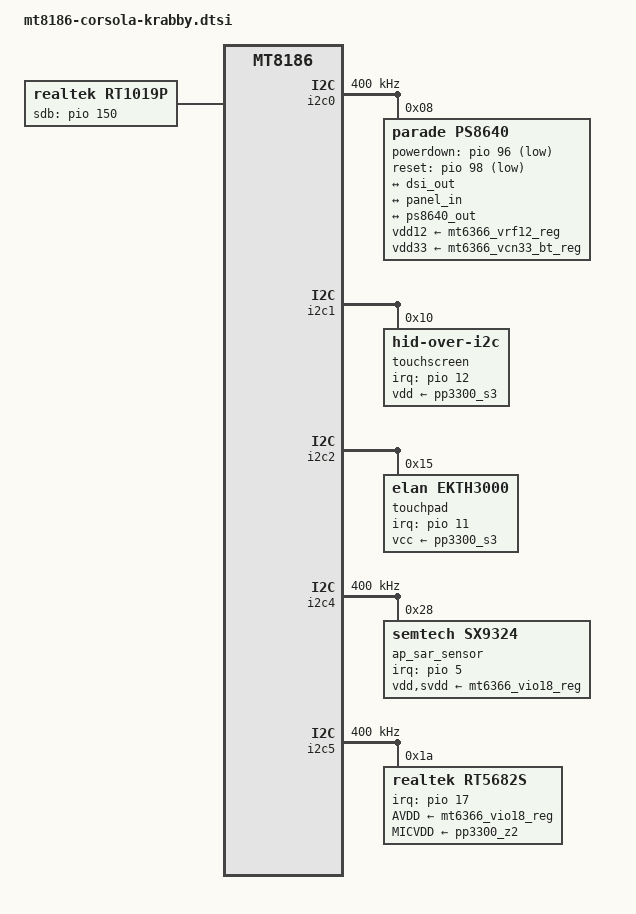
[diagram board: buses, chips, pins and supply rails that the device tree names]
// SPDX-License-Identifier: (GPL-2.0 OR MIT)
/*
 * Copyright 2022 Google LLC
 */

/dts-v1/;
#include "mt8186-corsola.dtsi"
#include "mt8186-corsola-it6505.dtsi"

/ {
	rt1019p: rt1019p {
		status = "okay";

		compatible = "realtek,rt1019p";
		pinctrl-names = "default";
		pinctrl-0 = <&rt1019p_pins_default>;
		sdb-gpios = <&pio 150 GPIO_ACTIVE_HIGH>;
		#sound-dai-cells = <0>;
	};
};

&dsi_out {
	remote-endpoint = <&ps8640_in>;
};

&i2c0 {
	clock-frequency = <400000>;

	ps8640: edp-bridge@8 {
		compatible = "parade,ps8640";
		reg = <0x8>;
		powerdown-gpios = <&pio 96 GPIO_ACTIVE_LOW>;
		reset-gpios = <&pio 98 GPIO_ACTIVE_LOW>;
		pinctrl-names = "default";
		pinctrl-0 = <&ps8640_pins>;
		vdd12-supply = <&mt6366_vrf12_reg>;
		vdd33-supply = <&mt6366_vcn33_bt_reg>;

		ports {
			#address-cells = <1>;
			#size-cells = <0>;

			port@0 {
				reg = <0>;

				ps8640_in: endpoint {
					remote-endpoint = <&dsi_out>;
				};
			};

			port@1 {
				reg = <1>;

				ps8640_out: endpoint {
					remote-endpoint = <&panel_in>;
				};
			};
		};

		aux-bus {
			panel {
				compatible = "auo,b116xw03";
				power-supply = <&pp3300_disp_x>;
				backlight = <&backlight_lcd0>;

				port {
					panel_in: endpoint {
						remote-endpoint = <&ps8640_out>;
					};
				};
			};
		};
	};
};

&i2c1 {
	i2c-scl-internal-delay-ns = <10000>;

	touchscreen: touchscreen@10 {
		compatible = "hid-over-i2c";
		reg = <0x10>;
		interrupt-parent = <&pio>;
		interrupts = <12 IRQ_TYPE_LEVEL_LOW>;
		pinctrl-names = "default";
		pinctrl-0 = <&touchscreen_pins>;
		post-power-on-delay-ms = <10>;
		hid-descr-addr = <0x0001>;
		vdd-supply = <&pp3300_s3>;
	};
};

&i2c2 {
	touchpad@15 {
		compatible = "elan,ekth3000";
		reg = <0x15>;
		pinctrl-names = "default";
		pinctrl-0 = <&trackpad_pins>;
		interrupt-parent = <&pio>;
		interrupts = <11 IRQ_TYPE_LEVEL_LOW>;
		vcc-supply = <&pp3300_s3>;
		wakeup-source;
	};
};

&i2c4 {
	clock-frequency = <400000>;

	ap_sar_sensor: proximity@28 {
		compatible = "semtech,sx9324";
		reg = <0x28>;
		#io-channel-cells = <1>;
		pinctrl-names = "default";
		pinctrl-0 = <&sar_sensor_pins>;
		interrupt-parent = <&pio>;
		interrupts = <5 IRQ_TYPE_LEVEL_LOW>;
		vdd-supply = <&mt6366_vio18_reg>;
		svdd-supply = <&mt6366_vio18_reg>;
	};
};

&i2c5 {
	clock-frequency = <400000>;

	rt5682s: rt5682s@1a {
		compatible = "realtek,rt5682s";
		reg = <0x1a>;
		interrupt-parent = <&pio>;
		interrupts = <17 IRQ_TYPE_EDGE_BOTH>;
		realtek,jd-src = <1>;
		AVDD-supply = <&mt6366_vio18_reg>;
		MICVDD-supply = <&pp3300_z2>;
		#sound-dai-cells = <0>;
	};
};

&mmc1_pins_default {
	pins-clk {
		drive-strength = <MTK_DRIVE_8mA>;
	};

	pins-cmd-dat {
		drive-strength = <MTK_DRIVE_8mA>;
	};
};

&mmc1_pins_uhs {
	pins-clk {
		drive-strength = <MTK_DRIVE_8mA>;
	};

	pins-cmd-dat {
		drive-strength = <MTK_DRIVE_8mA>;
	};
};

&pio {
	dpi_pin_default: dpi-pin-default {
		pins-cmd-dat {
			pinmux = <PINMUX_GPIO103__FUNC_GPIO103>,
				 <PINMUX_GPIO104__FUNC_GPIO104>,
				 <PINMUX_GPIO105__FUNC_GPIO105>,
				 <PINMUX_GPIO106__FUNC_GPIO106>,
				 <PINMUX_GPIO107__FUNC_GPIO107>,
				 <PINMUX_GPIO108__FUNC_GPIO108>,
				 <PINMUX_GPIO109__FUNC_GPIO109>,
				 <PINMUX_GPIO110__FUNC_GPIO110>,
				 <PINMUX_GPIO111__FUNC_GPIO111>,
				 <PINMUX_GPIO112__FUNC_GPIO112>,
				 <PINMUX_GPIO113__FUNC_GPIO113>,
				 <PINMUX_GPIO114__FUNC_GPIO114>,
				 <PINMUX_GPIO101__FUNC_GPIO101>,
				 <PINMUX_GPIO100__FUNC_GPIO100>,
				 <PINMUX_GPIO102__FUNC_GPIO102>,
				 <PINMUX_GPIO99__FUNC_GPIO99>;
			drive-strength = <MTK_DRIVE_10mA>;
			output-low;
		};
	};

	dpi_pin_func: dpi-pin-func {
		pins-cmd-dat {
			pinmux = <PINMUX_GPIO103__FUNC_DPI_DATA0>,
				 <PINMUX_GPIO104__FUNC_DPI_DATA1>,
				 <PINMUX_GPIO105__FUNC_DPI_DATA2>,
				 <PINMUX_GPIO106__FUNC_DPI_DATA3>,
				 <PINMUX_GPIO107__FUNC_DPI_DATA4>,
				 <PINMUX_GPIO108__FUNC_DPI_DATA5>,
				 <PINMUX_GPIO109__FUNC_DPI_DATA6>,
				 <PINMUX_GPIO110__FUNC_DPI_DATA7>,
				 <PINMUX_GPIO111__FUNC_DPI_DATA8>,
				 <PINMUX_GPIO112__FUNC_DPI_DATA9>,
				 <PINMUX_GPIO113__FUNC_DPI_DATA10>,
				 <PINMUX_GPIO114__FUNC_DPI_DATA11>,
				 <PINMUX_GPIO101__FUNC_DPI_HSYNC>,
				 <PINMUX_GPIO100__FUNC_DPI_VSYNC>,
				 <PINMUX_GPIO102__FUNC_DPI_DE>,
				 <PINMUX_GPIO99__FUNC_DPI_PCLK>;
			drive-strength = <MTK_DRIVE_10mA>;
		};
	};
};

&sound {
	status = "okay";

	compatible = "mediatek,mt8186-mt6366-rt1019-rt5682s-sound";
	mediatek,adsp = <&adsp>;

	playback-codecs {
		sound-dai = <&it6505dptx>,
			    <&rt1019p>;
	};

	headset-codec {
		sound-dai = <&rt5682s>;
	};
};
